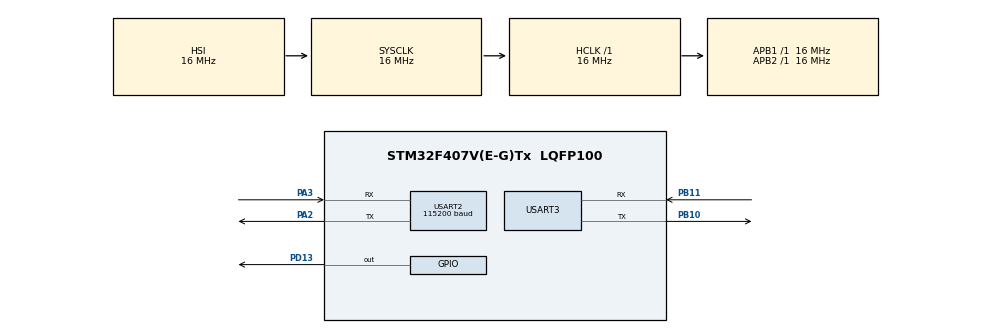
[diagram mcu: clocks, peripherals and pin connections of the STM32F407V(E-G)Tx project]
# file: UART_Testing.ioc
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Mcu.Family=STM32F4
Mcu.Name=STM32F407V(E-G)Tx
Mcu.Package=LQFP100
NVIC.PriorityGroup=NVIC_PRIORITYGROUP_4
NVIC.USART2_IRQn=true\:0\:0\:false\:false\:true\:true\:true\:true
NVIC.USART3_IRQn=true\:0\:0\:false\:false\:true\:true\:true\:true
PA2.Mode=Asynchronous
PA2.Signal=USART2_TX
PA3.Mode=Asynchronous
PA3.Signal=USART2_RX
PB10.Mode=Asynchronous
PB10.Signal=USART3_TX
PB11.Mode=Asynchronous
PB11.Signal=USART3_RX
PD13.Signal=GPIO_Output
ProjectManager.HeapSize=0x200
ProjectManager.StackSize=0x400
ProjectManager.TargetToolchain=STM32CubeIDE
RCC.AHBFreq_Value=16000000
RCC.APB1Freq_Value=16000000
RCC.APB2Freq_Value=16000000
RCC.CortexFreq_Value=16000000
RCC.HSE_VALUE=25000000
RCC.HSI_VALUE=16000000
RCC.LSE_VALUE=32768
RCC.SYSCLKFreq_VALUE=16000000
RCC.VCOOutputFreq_Value=192000000
USART2.BaudRate=115200
USART2.VirtualMode=VM_ASYNC
USART3.VirtualMode=VM_ASYNC
board=custom

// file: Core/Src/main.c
/* USER CODE BEGIN Header */
/**
  ******************************************************************************
  * @file           : main.c
  * @brief          : Main program body
  ******************************************************************************
  * @attention
  *
  * Copyright (c) 2024 STMicroelectronics.
  * All rights reserved.
  *
  * This software is licensed under terms that can be found in the LICENSE file
  * in the root directory of this software component.
  * If no LICENSE file comes with this software, it is provided AS-IS.
  *
  ******************************************************************************
  */
/* USER CODE END Header */
#include "main.h"
#include "string.h"

UART_HandleTypeDef huart2;
UART_HandleTypeDef huart3;

/* USER CODE BEGIN PV */
uint8_t tx_buffer[27]="Hello Chris!\n\r";
uint8_t rx_indx;
uint8_t rx_data[1];
uint8_t rx_buffer[8];
uint8_t transfer_cplt;

/* USER CODE END PV */

void SystemClock_Config(void);
static void MX_GPIO_Init(void);
static void MX_USART2_UART_Init(void);
static void MX_USART3_UART_Init(void);

int main(void)
{

  /* MCU Configuration--------------------------------------------------------*/

  /* Reset of all peripherals, Initializes the Flash interface and the Systick. */
  HAL_Init();

  /* Configure the system clock */
  SystemClock_Config();

  /* Initialize all configured peripherals */
  MX_GPIO_Init();
  MX_USART2_UART_Init();
  MX_USART3_UART_Init();
  /* USER CODE BEGIN 2 */
  HAL_UART_Receive_IT(&huart2, rx_data, 1);

  /* USER CODE END 2 */

  /* Infinite loop */
  while (1)
  {

    /* USER CODE BEGIN 3 */
	  //HAL_UART_Transmit(&huart3, rx_data, strlen(rx_data), 100);
	  //HAL_UART_Transmit(&huart3, tx_buffer, 27, 10);
	  //HAL_Delay(1000);

  }
  /* USER CODE END 3 */
}

void SystemClock_Config(void)
{
  RCC_OscInitTypeDef RCC_OscInitStruct = {0};
  RCC_ClkInitTypeDef RCC_ClkInitStruct = {0};

  /** Configure the main internal regulator output voltage
  */
  __HAL_RCC_PWR_CLK_ENABLE();
  __HAL_PWR_VOLTAGESCALING_CONFIG(PWR_REGULATOR_VOLTAGE_SCALE1);

  /** Initializes the RCC Oscillators according to the specified parameters
  * in the RCC_OscInitTypeDef structure.
  */
  RCC_OscInitStruct.OscillatorType = RCC_OSCILLATORTYPE_HSI;
  RCC_OscInitStruct.HSIState = RCC_HSI_ON;
  RCC_OscInitStruct.HSICalibrationValue = RCC_HSICALIBRATION_DEFAULT;
  RCC_OscInitStruct.PLL.PLLState = RCC_PLL_NONE;
  if (HAL_RCC_OscConfig(&RCC_OscInitStruct) != HAL_OK)
  {
    Error_Handler();
  }

  /** Initializes the CPU, AHB and APB buses clocks
  */
  RCC_ClkInitStruct.ClockType = RCC_CLOCKTYPE_HCLK|RCC_CLOCKTYPE_SYSCLK
                              |RCC_CLOCKTYPE_PCLK1|RCC_CLOCKTYPE_PCLK2;
  RCC_ClkInitStruct.SYSCLKSource = RCC_SYSCLKSOURCE_HSI;
  RCC_ClkInitStruct.AHBCLKDivider = RCC_SYSCLK_DIV1;
  RCC_ClkInitStruct.APB1CLKDivider = RCC_HCLK_DIV1;
  RCC_ClkInitStruct.APB2CLKDivider = RCC_HCLK_DIV1;

  if (HAL_RCC_ClockConfig(&RCC_ClkInitStruct, FLASH_LATENCY_0) != HAL_OK)
  {
    Error_Handler();
  }
}

static void MX_USART2_UART_Init(void)
{

  huart2.Instance = USART2;
  huart2.Init.BaudRate = 115200;
  huart2.Init.WordLength = UART_WORDLENGTH_8B;
  huart2.Init.StopBits = UART_STOPBITS_1;
  huart2.Init.Parity = UART_PARITY_NONE;
  huart2.Init.Mode = UART_MODE_TX_RX;
  huart2.Init.HwFlowCtl = UART_HWCONTROL_NONE;
  huart2.Init.OverSampling = UART_OVERSAMPLING_16;
  if (HAL_UART_Init(&huart2) != HAL_OK)
  {
    Error_Handler();
  }

}

static void MX_USART3_UART_Init(void)
{

  huart3.Instance = USART3;
  huart3.Init.BaudRate = 115200;
  huart3.Init.WordLength = UART_WORDLENGTH_8B;
  huart3.Init.StopBits = UART_STOPBITS_1;
  huart3.Init.Parity = UART_PARITY_NONE;
  huart3.Init.Mode = UART_MODE_TX_RX;
  huart3.Init.HwFlowCtl = UART_HWCONTROL_NONE;
  huart3.Init.OverSampling = UART_OVERSAMPLING_16;
  if (HAL_UART_Init(&huart3) != HAL_OK)
  {
    Error_Handler();
  }

}

static void MX_GPIO_Init(void)
{
  GPIO_InitTypeDef GPIO_InitStruct = {0};

  /* GPIO Ports Clock Enable */
  __HAL_RCC_GPIOA_CLK_ENABLE();
  __HAL_RCC_GPIOB_CLK_ENABLE();
  __HAL_RCC_GPIOD_CLK_ENABLE();

  /*Configure GPIO pin Output Level */
  HAL_GPIO_WritePin(GPIOD, GPIO_PIN_13, GPIO_PIN_RESET);

  /*Configure GPIO pin : PD13 */
  GPIO_InitStruct.Pin = GPIO_PIN_13;
  GPIO_InitStruct.Mode = GPIO_MODE_OUTPUT_PP;
  GPIO_InitStruct.Pull = GPIO_NOPULL;
  GPIO_InitStruct.Speed = GPIO_SPEED_FREQ_LOW;
  HAL_GPIO_Init(GPIOD, &GPIO_InitStruct);

}

/* USER CODE BEGIN 4 */

void HAL_UART_RxCpltCallback(UART_HandleTypeDef *huart)
{
  /* Prevent unused argument(s) compilation warning */
  UNUSED(huart);
  /* NOTE: This function should not be modified, when the callback is needed,
           the HAL_UART_RxCpltCallback could be implemented in the user file
   */
//  HAL_UART_Transmit(&huart2, rx_data, 6, 10);
  uint8_t i;
  	  if(huart->Instance == USART2){
//  		  if(rx_indx == 0){
//  			  for(i=0; i<100; i++)
//  				  rx_buffer[i] = 0;
//  			  	  	  HAL_GPIO_WritePin(GPIOD, GPIO_PIN_13, GPIO_PIN_RESET);
//  		  }

  		  if(rx_data[0] != 32){
  			  rx_buffer[rx_indx++] = rx_data[0];
  		  }
  		  else{
  			  rx_indx = 0;
  			  transfer_cplt = 1;
  			  //HAL_UART_Transmit(&huart1, "\n\r", 2, 100);
//  			  if(!strcmp(rx_buffer, "HIGH")){
//  				  HAL_GPIO_WritePin(GPIOD, GPIO_PIN_13, GPIO_PIN_SET);
//  				  //HAL_UART_Transmit(&huart3, rx_buffer, strlen(rx_buffer), 100);
//  			  }
//  			  else if(!strcmp(rx_buffer, "LOW")){
//  				  HAL_GPIO_WritePin(GPIOD, GPIO_PIN_13, GPIO_PIN_RESET);
//  				  //HAL_UART_Transmit(&huart3, rx_buffer, strlen(rx_buffer), 100);
//  			  }
  			  HAL_UART_Transmit(&huart3, "C: ", 3, 100);
  			  HAL_UART_Transmit(&huart3, rx_buffer, strlen(rx_buffer), 100);
  			  HAL_UART_Transmit(&huart3, "\n\r", 2, 100);
  			  memset(rx_buffer, 0, sizeof(rx_buffer)); // Clear the buffer after processing
  		  }

  		  HAL_UART_Receive_IT(&huart2, rx_data, 1);
  		  //HAL_UART_Transmit(&huart3, rx_data, strlen(rx_data), 100);
  	  }
}

//void HAL_UART_RxCpltCallback(UART_HandleTypeDef *huart)
//{
//    if(huart->Instance == USART2) { // Ensure we are dealing with USART2
//        if(rx_data[0] != '\n') { // Check if the received data is not a newline
//            rx_buffer[rx_indx++] = rx_data[0]; // Store received data in buffer
//        }
//        else { // Newline received, indicating end of command
//            rx_buffer[rx_indx] = '\0'; // Null-terminate the string
//            rx_indx = 0; // Reset index for next message
//
//            // Check if received command is "LED_ON"
//            if(strcmp((char*)rx_buffer, "LED_ON") == 0) {
//            	HAL_GPIO_WritePin(GPIOD, GPIO_PIN_13, GPIO_PIN_SET);
//            }
//            // Check if received command is "LED_OFF"
//            else if(strcmp((char*)rx_buffer, "LED_OFF") == 0) {
//            	HAL_GPIO_WritePin(GPIOD, GPIO_PIN_13, GPIO_PIN_RESET);
//            }
//
//            memset(rx_buffer, 0, sizeof(rx_buffer)); // Clear the buffer after processing
//        }
//
//        // Prepare to receive next character
//        HAL_UART_Receive_IT(&huart2, rx_data, 1);
//    }
//}

//void HAL_UART_RxCpltCallback(UART_HandleTypeDef *huart)
//{
//    if(huart->Instance == USART2) { // Ensure we are dealing with USART2
//        if(rx_data[0] != '\n'){ // Check if the received data is not a newline
//            rx_buffer[rx_indx++] = rx_data[0]; // Store received data in buffer
//        }
//        else{
//            rx_buffer[rx_indx] = '\0'; // Null-terminate the string
//            rx_indx = 0; // Reset index for next message
//
//            // Transmit the entire line through USART1
//            // HAL_UART_Transmit(&huart1, (uint8_t*)rx_buffer, strlen((char*)rx_buffer), 100);
//            HAL_UART_Transmit(&huart1, rx_buffer, strlen(rx_buffer), 100);
//            //HAL_UART_Transmit(&huart1, (uint8_t*)"\r\n", 2, 100); // Newline for PuTTY terminal
//
//            memset(rx_buffer, 0, sizeof(rx_buffer)); // Clear the buffer after processing
//        }
//        HAL_UART_Receive_IT(&huart2, rx_data, 1); // Prepare to receive next character
//        HAL_UART_Transmit(&huart1, rx_data, strlen(rx_data), 100);
//    }
//}

//void HAL_UART_RxCpltCallback(UART_HandleTypeDef *huart)
//{
//    if(huart->Instance == USART2) { // Ensure we are dealing with USART2
//        if(rx_data[0] != '\n'){ // Check if the received data is not a newline
//            if(rx_indx < sizeof(rx_buffer) - 1) { // Prevent buffer overflow
//                rx_buffer[rx_indx++] = rx_data[0]; // Store received data in buffer
//            }
//        }
//        else { // Newline received, indicating end of command
//            rx_buffer[rx_indx] = '\0'; // Null-terminate the string
//            HAL_UART_Transmit(&huart1, (uint8_t*)rx_buffer, strlen((char*)rx_buffer), 100); // Transmit buffer to USART1
//            HAL_UART_Transmit(&huart1, (uint8_t*)"\r\n", 2, 100); // Newline for PuTTY terminal
//            memset(rx_buffer, 0, sizeof(rx_buffer)); // Clear the buffer after processing
//            rx_indx = 0; // Reset index for next message
//        }
//        HAL_UART_Receive_IT(&huart2, rx_data, 1); // Prepare to receive next character
//    }
//}

/* USER CODE END 4 */

void Error_Handler(void)
{
  __disable_irq();
  while (1)
  {
  }
}
